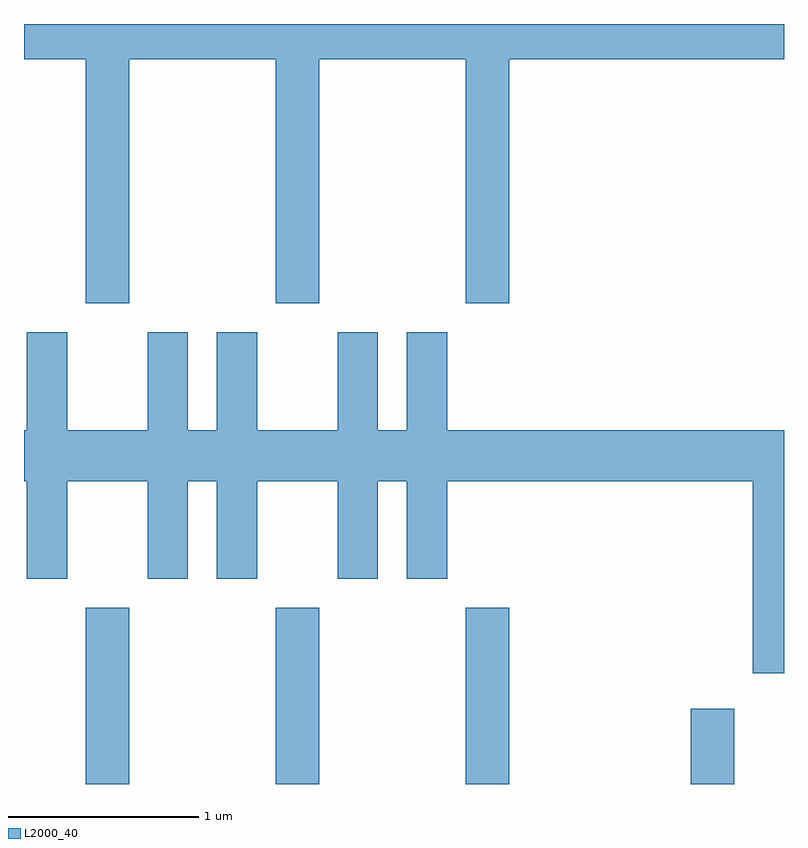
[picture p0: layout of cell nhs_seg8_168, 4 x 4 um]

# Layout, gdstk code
import gdstk
lib = gdstk.Library(unit=1e-6, precision=1e-09)
def R(c, l, rs):  # rectangles x0, y0, x1, y1
    for r in rs: c.add(gdstk.rectangle(r[:2], r[2:], *l))
def A(c, l, x, y, w, h, nx, ny, dx, dy):  # array of equal rectangles
    R(c, l, [(x+i*dx, y+j*dy, x+i*dx+w, y+j*dy+h) for i in range(nx) for j in range(ny)])
def P(c, l, *ps):  # polygons
    for p in ps: c.add(gdstk.Polygon(p, *l))
L2000_40 = (2000, 40)

nhs_seg8_168 = lib.new_cell('nhs_seg8_168')
A(nhs_seg8_168, L2000_40, 189.936, 1870.342, 0.228, 0.927, 3, 1, 1, 0)
R(nhs_seg8_168, L2000_40, [(193.121,1870.342,193.349,1870.739)])
P(nhs_seg8_168, L2000_40, [(190.164,1874.156),(190.936,1874.156),(190.936,1872.871),(191.164,1872.871),(191.164,1874.156),(191.936,1874.156),(191.936,1872.871),(192.164,1872.871),(192.164,1874.156),(193.611,1874.156),(193.611,1874.342),(189.611,1874.342),(189.611,1874.156),(189.936,1874.156),(189.936,1872.871),(190.164,1872.871)],
  [(193.611,1872.204),(191.839,1872.204),(191.839,1872.719),(191.626,1872.719),(191.626,1872.204),(191.474,1872.204),(191.474,1872.719),(191.261,1872.719),(191.261,1872.204),(190.839,1872.204),(190.839,1872.719),(190.626,1872.719),(190.626,1872.204),(190.474,1872.204),(190.474,1872.719),(190.261,1872.719),(190.261,1872.204),(189.839,1872.204),(189.839,1872.719),(189.626,1872.719),(189.626,1872.204),(189.611,1872.204),(189.611,1871.936),(189.626,1871.936),(189.626,1871.421),(189.839,1871.421),(189.839,1871.936),(190.261,1871.936),(190.261,1871.421),(190.474,1871.421),(190.474,1871.936),(190.626,1871.936),(190.626,1871.421),(190.839,1871.421),(190.839,1871.936),(191.261,1871.936),(191.261,1871.421),(191.474,1871.421),(191.474,1871.936),(191.626,1871.936),(191.626,1871.421),(191.839,1871.421),(191.839,1871.936),(193.446,1871.936),(193.446,1870.926),(193.611,1870.926)])

lib.write_gds('nhs_seg8_168.gds')
